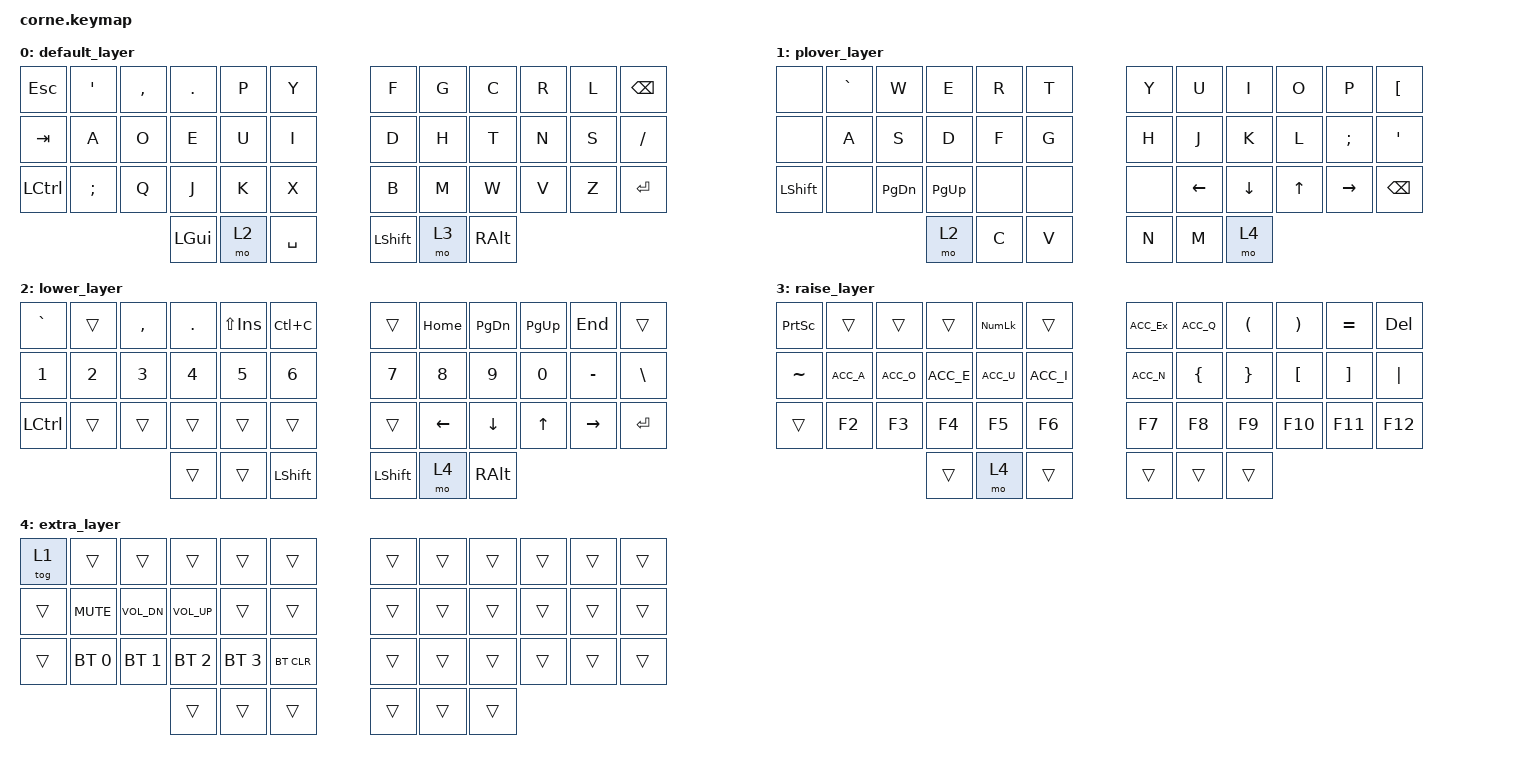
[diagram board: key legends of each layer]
/*
 * Copyright (c) 2020 The ZMK Contributors
 *
 * SPDX-License-Identifier: MIT
 */

#include <behaviors.dtsi>
#include <dt-bindings/zmk/keys.h>
#include <dt-bindings/zmk/bt.h>

/ {
        macros {
            ACC_A: ACC_A {
                compatible = "zmk,behavior-macro";
                #binding-cells = <0>;
                bindings =
                    <&macro_press>,
                    <&kp RALT>,
                    <&macro_tap>,
                    <&kp KP_N1 &kp KP_N6 &kp KP_N0>,
                    <&macro_release>,
                    <&kp RALT>;
            };
            ACC_E: ACC_E {
                compatible = "zmk,behavior-macro";
                #binding-cells = <0>;
                bindings =
                    <&macro_press>,
                    <&kp RALT>,
                    <&macro_tap>,
                    <&kp KP_N1 &kp KP_N3 &kp KP_N0>,
                    <&macro_release>,
                    <&kp RALT>;
            };
            ACC_I: ACC_I {
                compatible = "zmk,behavior-macro";
                #binding-cells = <0>;
                bindings =
                    <&macro_press>,
                    <&kp RALT>,
                    <&macro_tap>,
                    <&kp KP_N1 &kp KP_N6 &kp KP_N1>,
                    <&macro_release>,
                    <&kp RALT>;
            };
            ACC_O: ACC_O {
                compatible = "zmk,behavior-macro";
                #binding-cells = <0>;
                bindings =
                    <&macro_press>,
                    <&kp RALT>,
                    <&macro_tap>,
                    <&kp KP_N1 &kp KP_N6 &kp KP_N2>,
                    <&macro_release>,
                    <&kp RALT>;
            };
            ACC_U: ACC_U {
                compatible = "zmk,behavior-macro";
                #binding-cells = <0>;
                bindings =
                    <&macro_press>,
                    <&kp RALT>,
                    <&macro_tap>,
                    <&kp KP_N1 &kp KP_N6 &kp KP_N3>,
                    <&macro_release>,
                    <&kp RALT>;
            };
            ACC_N: ACC_N {
                compatible = "zmk,behavior-macro";
                #binding-cells = <0>;
                bindings =
                    <&macro_press>,
                    <&kp RALT>,
                    <&macro_tap>,
                    <&kp KP_N1 &kp KP_N6 &kp KP_N4>,
                    <&macro_release>,
                    <&kp RALT>;
            };
            ACC_Q: ACC_Q {
                compatible = "zmk,behavior-macro";
                #binding-cells = <0>;
                bindings =
                    <&macro_press>,
                    <&kp RALT>,
                    <&macro_tap>,
                    <&kp KP_N1 &kp KP_N6 &kp KP_N8>,
                    <&macro_release>,
                    <&kp RALT>;
            };
            ACC_Ex: ACC_Ex {
                compatible = "zmk,behavior-macro";
                #binding-cells = <0>;
                bindings =
                    <&macro_press>,
                    <&kp RALT>,
                    <&macro_tap>,
                    <&kp KP_N1 &kp KP_N7 &kp KP_N3>,
                    <&macro_release>,
                    <&kp RALT>;
            };
        };
        keymap {
                compatible = "zmk,keymap";

                default_layer {
                        bindings = <
   &kp ESC   &kp SQT   &kp COMMA &kp DOT &kp P &kp Y        &kp F &kp G  &kp C &kp R &kp L &kp BSPC
   &kp TAB   &kp A     &kp O     &kp E   &kp U &kp I        &kp D &kp H  &kp T &kp N &kp S &kp FSLH
   &kp LCTRL &kp SEMI  &kp Q     &kp J   &kp K &kp X        &kp B &kp M  &kp W &kp V &kp Z &kp ENTER
                       &kp LGUI  &mo 2   &kp SPACE          &kp LSHFT &mo 3 &kp RALT
                        >;
                };

                plover_layer {
                        bindings = <
   &none      &kp GRAVE &kp W     &kp E     &kp R &kp T      &kp Y &kp U     &kp I     &kp O   &kp P     &kp LBKT
   &none      &kp A     &kp S     &kp D     &kp F &kp G      &kp H &kp J     &kp K     &kp L   &kp SEMI  &kp SQT
   &kp LSHFT  &none     &kp PG_DN &kp PG_UP &none &none      &none &kp LEFT  &kp DOWN  &kp UP  &kp RIGHT &kp BSPC
                                  &mo 2     &kp C &kp V      &kp N &kp M     &mo 4
                        >;
                };

                lower_layer {
                        bindings = <
   &kp GRAVE  &trans  &kp COMMA  &kp DOT  &kp LS(INS) &kp LC(C)          &trans    &kp HOME  &kp PG_DN &kp PG_UP &kp END   &trans
   &kp N1     &kp N2  &kp N3     &kp N4   &kp N5      &kp N6             &kp N7    &kp N8    &kp N9    &kp N0    &kp MINUS &kp BSLH
   &kp LCTRL  &trans  &trans     &trans   &trans      &trans             &trans    &kp LEFT  &kp DOWN  &kp UP    &kp RIGHT &kp ENTER
                                 &trans   &trans      &kp LSHFT          &kp LSHFT &mo 4     &kp RALT
                        >;
                };

                raise_layer {
                        bindings = <
   &kp PSCRN &trans   &trans  &trans  &kp KP_NUMLOCK  &trans        &ACC_Ex &ACC_Q   &kp LPAR &kp RPAR &kp EQUAL &kp DEL
   &kp TILDE &ACC_A   &ACC_O  &ACC_E  &ACC_U          &ACC_I        &ACC_N  &kp LBRC &kp RBRC &kp LBKT &kp RBKT  &kp PIPE
   &trans    &kp F2   &kp F3  &kp F4  &kp F5          &kp F6        &kp F7  &kp F8   &kp F9   &kp F10  &kp F11   &kp F12
                              &trans  &mo 4           &trans        &trans  &trans   &trans
                        >;
                };

                extra_layer {
                        bindings = <
   &tog 1 &trans       &trans       &trans       &trans       &trans          &trans &trans &trans &trans &trans &trans
   &trans &kp C_MUTE   &kp C_VOL_DN &kp C_VOL_UP &trans       &trans          &trans &trans &trans &trans &trans &trans
   &trans &bt BT_SEL 0 &bt BT_SEL 1 &bt BT_SEL 2 &bt BT_SEL 3 &bt BT_CLR      &trans &trans &trans &trans &trans &trans
                                                    &trans &trans &trans      &trans &trans &trans
                        >;
                };
        };
};

